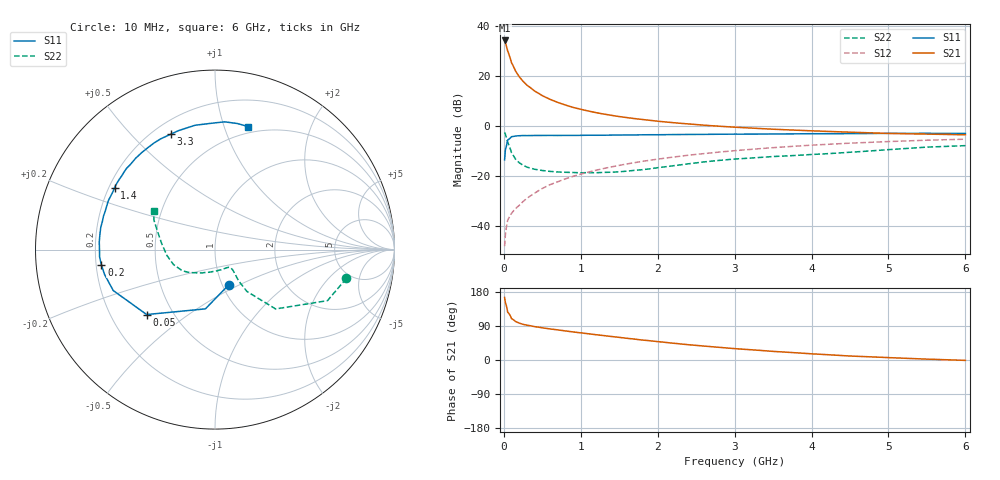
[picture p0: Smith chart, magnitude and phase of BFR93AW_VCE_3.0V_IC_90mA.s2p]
! Infineon Technologies  Discrete & RF Semiconductors
! BFR93AW
! VCE =  3.0 V,  IC =  90 mA
! Common Emitter S-Parameters:  Jan 2017
# GHz  S  MA  R  50
!  f  S11  S21  S12  S22
! GHz  MAG  ANG  MAG  ANG  MAG  ANG  MAG  ANG
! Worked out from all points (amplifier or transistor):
!   77 points, 10 MHz to 6 GHz, reference 50 ohm
!   highest |S21| = 34.1 dB at 10 MHz (marker M1)
!   |S21| within 3 dB of that: start of sweep to 39.38 MHz
!   unconditionally stable (mu >= 1): start of sweep to 10.55 MHz; 143.1 MHz to 3.981 GHz; 4.043 GHz to end of sweep
!   at 130 MHz: K = 0.95, MSG = 28.6 dB, |S12| = -33.7 dB
!   at 2.2 GHz: K = 1.11, MAG = 4.8 dB, |S12| = -12.4 dB
!   at 6 GHz: K = 1.01, MAG = 0.3 dB, |S12| = -5.3 dB
!   S11 on the Smith chart (normalised r, x): 10 MHz: 1.07, -0.44; 50 MHz: 0.36, -0.35; 200 MHz: 0.22, -0.06; 1.4 GHz: 0.22, +0.27; 3.3 GHz: 0.27, +0.66; 6 GHz: 0.44, +1.21
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0.01  0.2112 -69.0  50.84 165.0  0.004 63.9  0.7494 -12.4
0.02  0.3345 -99.2  47.08 151.7  0.0067 66.2  0.6882 -24.4
0.05  0.5254 -136.5  31.32 126.1  0.0131 53.3  0.4725 -44.4
0.1  0.6111 -158.1  18.26 109.1  0.0181 53.5  0.2927 -52.7
0.15  0.6308 -167.3  12.63 101.8  0.0223 58.6  0.2197 -52.9
0.2  0.6388 -172.5  9.62 97.4  0.0261 63.5  0.1847 -51.3
0.25  0.6444 -176.4  7.782 94.1  0.0311 65.2  0.1648 -49.9
0.3  0.6434 -179.2  6.524 91.9  0.0359 67.5  0.151 -49.0
0.4  0.6462 176.2  4.976 88.0  0.0456 70.9  0.137 -48.9
0.5  0.6469 172.2  4.025 84.9  0.0567 71.5  0.1294 -50.4
0.6  0.6484 168.9  3.403 82.0  0.0674 72.8  0.1241 -52.7
0.7  0.6467 166.1  2.955 79.5  0.077 73.4  0.121 -55.7
0.9  0.6481 160.5  2.351 74.1  0.0989 73.0  0.118 -64.2
1.1  0.6538 155.2  1.986 69.2  0.1203 72.2  0.1174 -73.5
1.4  0.6578 148.3  1.629 62.0  0.1527 70.1  0.1196 -89.1
1.7  0.6625 141.5  1.404 55.1  0.1853 67.2  0.1304 -104.6
2.1  0.6708 133.0  1.204 46.5  0.2286 62.9  0.1535 -122.4
3.1  0.6871 114.3  0.928 28.6  0.3308 51.3  0.2237 -151.0
3.3  0.6888 110.7  0.894 25.8  0.3499 48.9  0.234 -155.7
4.1  0.7013 97.7  0.791 15.2  0.4221 39.3  0.2746 -176.0
5.1  0.7132 84.5  0.706 5.5  0.4949 27.4  0.3452 160.3
6  0.7102 74.8  0.667 -1.0  0.5451 17.3  0.4054 147.5
